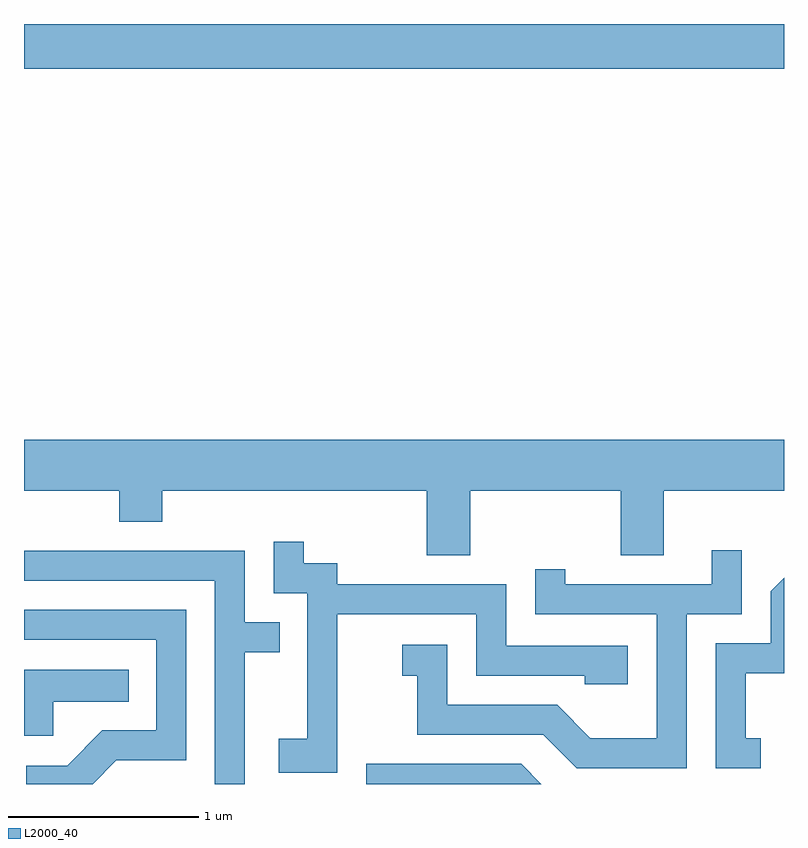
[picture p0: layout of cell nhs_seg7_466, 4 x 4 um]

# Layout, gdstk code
import gdstk
lib = gdstk.Library(unit=1e-6, precision=1e-09)
def R(c, l, rs):  # rectangles x0, y0, x1, y1
    for r in rs: c.add(gdstk.rectangle(r[:2], r[2:], *l))
def P(c, l, *ps):  # polygons
    for p in ps: c.add(gdstk.Polygon(p, *l))
L2000_40 = (2000, 40)

nhs_seg7_466 = lib.new_cell('nhs_seg7_466')
R(nhs_seg7_466, L2000_40, [(197.611,1792.016,201.611,1792.252)])
P(nhs_seg7_466, L2000_40, [(199.959,1789.796),(200.751,1789.796),(200.751,1789.456),(200.979,1789.456),(200.979,1789.796),(201.611,1789.796),(201.611,1790.064),(197.611,1790.064),(197.611,1789.796),(198.111,1789.796),(198.111,1789.631),(198.339,1789.631),(198.339,1789.796),(199.731,1789.796),(199.731,1789.456),(199.959,1789.456)],
  [(199.259,1789.146),(199.991,1789.146),(199.991,1788.821),(200.561,1788.821),(200.561,1788.776),(200.789,1788.776),(200.789,1788.979),(200.149,1788.979),(200.149,1789.304),(199.259,1789.304),(199.259,1789.414),(199.084,1789.414),(199.084,1789.528),(198.926,1789.528),(198.926,1789.256),(199.101,1789.256),(199.101,1788.489),(198.951,1788.489),(198.951,1788.311),(199.259,1788.311)],
  [(201.099,1789.146),(201.389,1789.146),(201.389,1789.483),(201.231,1789.483),(201.231,1789.304),(200.459,1789.304),(200.459,1789.383),(200.301,1789.383),(200.301,1789.146),(200.941,1789.146),(200.941,1788.494),(200.592,1788.494),(200.417,1788.669),(199.839,1788.669),(199.839,1788.984),(199.603,1788.984),(199.603,1788.821),(199.681,1788.821),(199.681,1788.511),(200.344,1788.511),(200.519,1788.336),(201.099,1788.336)],
  [(198.774,1788.946),(198.958,1788.946),(198.958,1789.104),(198.774,1789.104),(198.774,1789.479),(197.611,1789.479),(197.611,1789.321),(198.616,1789.321),(198.616,1788.252),(198.774,1788.252)],
  [(201.488,1788.494),(201.409,1788.494),(201.409,1788.836),(201.611,1788.836),(201.611,1789.337),(201.541,1789.267),(201.541,1788.994),(201.251,1788.994),(201.251,1788.336),(201.488,1788.336)],
  [(198.097,1788.376),(198.464,1788.376),(198.464,1789.169),(197.611,1789.169),(197.611,1789.011),(198.306,1789.011),(198.306,1788.534),(198.024,1788.534),(197.839,1788.349),(197.623,1788.349),(197.623,1788.252),(197.973,1788.252)],
  [(197.764,1788.686),(198.163,1788.686),(198.163,1788.854),(197.611,1788.854),(197.611,1788.506),(197.764,1788.506)],
  [(200.227,1788.359),(199.411,1788.359),(199.411,1788.252),(200.334,1788.252)])

lib.write_gds('nhs_seg7_466.gds')
